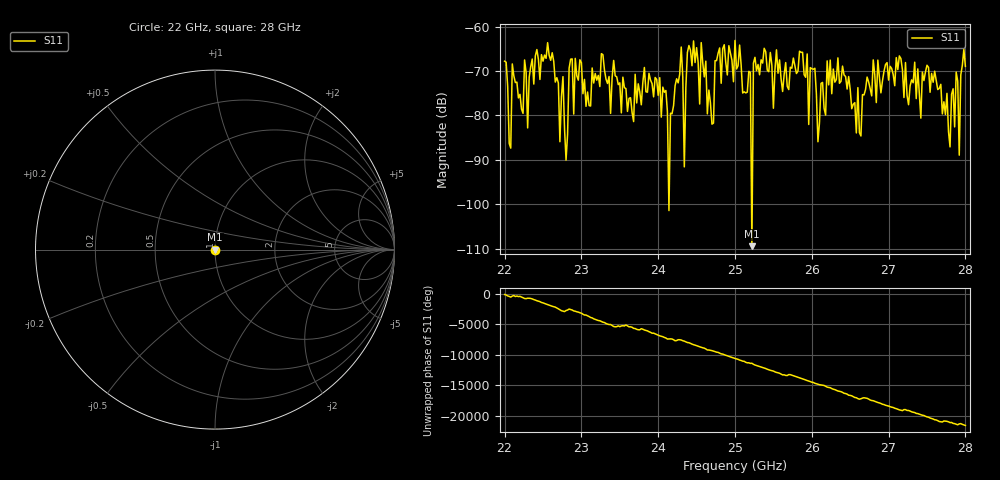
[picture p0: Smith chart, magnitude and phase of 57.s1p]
#  HZ  S  RI  R  50.00
! Rohde & Schwarz ZVA40 4Ports - Version 3.90 - 1145.1110k42 SN: 100403
! Date: 2023-10-04 09:02:23
! Measurement: S12
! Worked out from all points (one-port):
!   301 points, 22 GHz to 28 GHz, reference 50 ohm
!   lowest |S11| = -109.5 dB at 25.22 GHz (marker M1), VSWR 1.00, Z = 50 + j0.000274 ohm
!   |S11| at or under -10 dB: start of sweep to end of sweep
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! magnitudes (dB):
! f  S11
! 22 GHz  -67.8
! 22.06 GHz  -86.3
! 22.1 GHz  -68.4
! 22.3 GHz  -82.8
! 22.42 GHz  -65.1
! 22.76 GHz  -71.2
! 23.5 GHz  -72.6
! 24.26 GHz  -72.7
! 24.3 GHz  -64.6
! 24.34 GHz  -91.6
! 24.46 GHz  -63.2
! 24.54 GHz  -77.4
! 24.56 GHz  -63.6
! 24.72 GHz  -81.7
! 24.74 GHz  -67.7
! 25 GHz  -63.1
! 25.22 GHz  -109.5
! 25.26 GHz  -66.9
! 25.46 GHz  -65.8
! 25.5 GHz  -78.4
! 25.54 GHz  -65.2
! 25.76 GHz  -67.1
! 25.94 GHz  -66.1
! 25.96 GHz  -82.0
! 25.98 GHz  -69.2
! 26.5 GHz  -74.1
! 27.26 GHz  -77.6
! 28 GHz  -68.9
